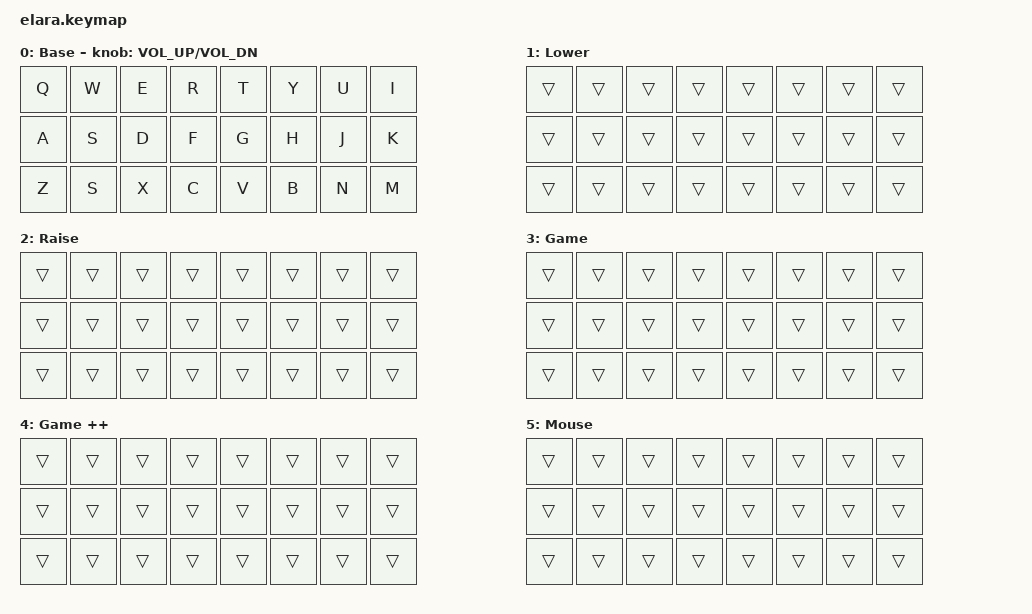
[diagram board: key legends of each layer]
#include <behaviors.dtsi>
#include <dt-bindings/zmk/mouse.h>
#include <behaviors/mouse_keys.dtsi>
#include <dt-bindings/zmk/keys.h>
#include <dt-bindings/zmk/bt.h>
#include <dt-bindings/zmk/outputs.h>
#include <dt-bindings/zmk/keys.h>

&lt {
    tapping-term-ms = <240>;
    flavor = "balanced";
    quick-tap-ms = <150>;
};

/ {
    keymap {
        compatible = "zmk,keymap";

        Base {
            label = "Base";
            bindings = <
                &kp Q    &kp W    &kp E    &kp R    &kp T    &kp Y    &kp U    &kp I
                &kp A    &kp S    &kp D    &kp F    &kp G    &kp H    &kp J    &kp K
                &kp Z    &kp S    &kp X    &kp C    &kp V    &kp B    &kp N    &kp M
            >;

            sensor-bindings = <&inc_dec_kp C_VOL_UP C_VOL_DN>;
        };

        Lower {
            label = "Lower";
            bindings = <
                &trans    &trans    &trans    &trans    &trans    &trans     &trans    &trans 
                &trans    &trans    &trans    &trans    &trans    &trans     &trans    &trans 
                &trans    &trans    &trans    &trans    &trans    &trans     &trans    &trans 
            >;
        };

        Raise {
            label = "Raise";
            bindings = <
                &trans    &trans    &trans    &trans    &trans    &trans     &trans    &trans 
                &trans    &trans    &trans    &trans    &trans    &trans     &trans    &trans 
                &trans    &trans    &trans    &trans    &trans    &trans     &trans    &trans 
            >;
        };

        Game {
            label = "Game";
            bindings = <
                &trans    &trans    &trans    &trans    &trans    &trans     &trans    &trans 
                &trans    &trans    &trans    &trans    &trans    &trans     &trans    &trans 
                &trans    &trans    &trans    &trans    &trans    &trans     &trans    &trans 
            >;
        };

        Game_++ {
            label = "Game ++";
            bindings = <
                &trans    &trans    &trans    &trans    &trans    &trans     &trans    &trans 
                &trans    &trans    &trans    &trans    &trans    &trans     &trans    &trans 
                &trans    &trans    &trans    &trans    &trans    &trans     &trans    &trans 
            >;
        };

        Mouse {
            bindings = <
                &trans    &trans    &trans    &trans    &trans    &trans     &trans    &trans 
                &trans    &trans    &trans    &trans    &trans    &trans     &trans    &trans 
                &trans    &trans    &trans    &trans    &trans    &trans     &trans    &trans 
            >;
        };
    };
};
